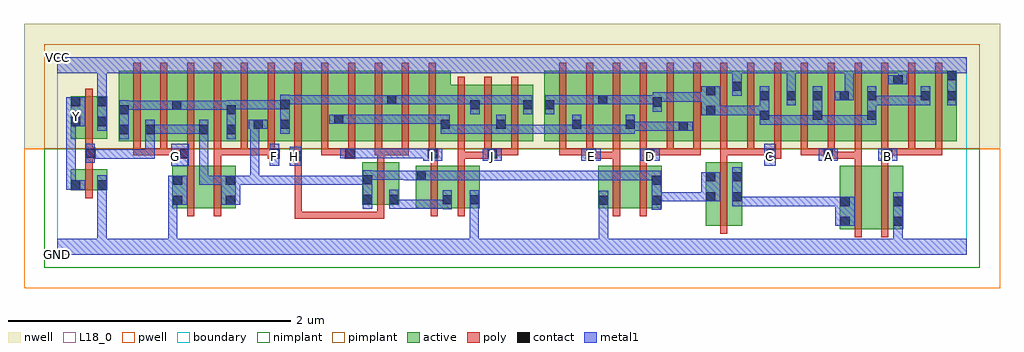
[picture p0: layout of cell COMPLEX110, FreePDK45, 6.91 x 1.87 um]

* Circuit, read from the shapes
.subckt COMPLEX110 A B C D E F G GND H I J VCC Y
M1 GND n1 Y VSUBS nfet w=0.15u l=0.05u
M2 n2 G GND VSUBS nfet w=0.3u l=0.05u
M3 n1 F n2 VSUBS nfet w=0.3u l=0.05u
M4 n3 H n1 VSUBS nfet w=0.3u l=0.05u
M5 n3 I n1 VSUBS nfet w=0.3u l=0.05u
M6 GND J n3 VSUBS nfet w=0.3u l=0.05u
M7 n4 E GND VSUBS nfet w=0.3u l=0.05u
M8 n1 D n4 VSUBS nfet w=0.3u l=0.05u
M9 n5 C n1 VSUBS nfet w=0.45u l=0.05u
M10 n6 A n5 VSUBS nfet w=0.45u l=0.05u
M11 GND B n6 VSUBS nfet w=0.45u l=0.05u
M12 VCC n1 Y n7 pfet w=0.3u l=0.05u
M13 n1 G n8 n7 pfet w=0.5u l=0.05u m=3
M14 n8 F n1 n7 pfet w=0.5u l=0.05u m=3
M15 n9 H n8 n7 pfet w=0.5u l=0.05u
M16 n10 I n9 n7 pfet w=0.5u l=0.05u
M17 n11 I n10 n7 pfet w=0.5u l=0.05u
M18 n8 H n11 n7 pfet w=0.5u l=0.05u
M19 n12 H n8 n7 pfet w=0.5u l=0.05u
M20 n10 I n12 n7 pfet w=0.5u l=0.05u
M21 n8 J n10 n7 pfet w=0.4u l=0.05u m=3
M22 n10 E n13 n7 pfet w=0.5u l=0.05u m=3
M23 n13 D n10 n7 pfet w=0.5u l=0.05u m=3
M24 VCC C n13 n7 pfet w=0.5u l=0.05u m=3
M25 n13 A VCC n7 pfet w=0.5u l=0.05u m=3
M26 VCC B n13 n7 pfet w=0.5u l=0.05u m=3
.ends

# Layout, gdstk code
import gdstk
lib = gdstk.Library(unit=1e-6, precision=1e-09)
def R(c, l, rs):  # rectangles x0, y0, x1, y1
    for r in rs: c.add(gdstk.rectangle(r[:2], r[2:], *l))
def A(c, l, x, y, w, h, nx, ny, dx, dy):  # array of equal rectangles
    R(c, l, [(x+i*dx, y+j*dy, x+i*dx+w, y+j*dy+h) for i in range(nx) for j in range(ny)])
active = (1, 0)
pwell = (2, 0)
nwell = (3, 0)
nimplant = (4, 0)
pimplant = (5, 0)
poly = (9, 0)
contact = (10, 0)
metal1 = (11, 0)
L18_0 = (18, 0)
boundary = (235, 0)

complex110 = lib.new_cell('COMPLEX110')
A(complex110, active, 4.21, 0.805, 0.075, 0.395, 3, 1, 0.38, 0)
A(complex110, active, 4.59, 0.805, 0.26, 0.5, 3, 1, 0.57, 0)
R(complex110, active, [(5.54,0.18,5.765,0.63), (5.765,0.18,5.99,0.63), (5.915,0.182,5.99,0.63), (5.54,0.2,5.615,0.63), (4.59,0.205,4.85,0.655), (4.59,0.207,4.665,0.655), (4.775,0.207,4.85,0.655), (0.815,0.33,1.04,0.63), (1.04,0.33,1.265,0.63), (2.54,0.33,2.8,0.63), (2.725,0.33,2.8,0.497), (2.725,0.33,2.99,0.63), (2.915,0.33,2.99,0.597), (3.83,0.33,4.055,0.63), (3.83,0.33,3.905,0.497), (4.055,0.33,4.28,0.63), (0.815,0.332,0.89,0.63), (2.54,0.332,2.615,0.63), (4.205,0.332,4.28,0.63), (1.19,0.35,1.265,0.63), (2.16,0.355,2.42,0.655), (2.16,0.355,2.235,0.655), (2.345,0.355,2.42,0.655), (0.095,0.457,0.17,0.607), (0.095,0.457,0.355,0.607), (0.28,0.457,0.355,0.607), (0.435,0.805,0.695,1.305), (0.435,0.805,0.51,1.2), (0.62,0.805,0.885,1.305), (0.81,0.805,1.075,1.305), (1,0.805,1.27,1.305), (1,0.805,1.075,1.07), (1.195,0.805,1.46,1.305), (1.385,0.805,1.65,1.305), (1.575,0.805,1.8,1.305), (1.8,0.805,2.03,1.305), (1.955,0.805,2.18,1.305), (2.18,0.805,2.407,1.305), (2.332,0.805,2.56,1.305), (2.56,0.805,2.785,1.305), (2.71,0.805,2.785,1.07), (2.71,0.805,2.995,1.205), (2.92,0.805,3.18,1.205), (3.105,0.805,3.18,1.07), (3.105,0.805,3.37,1.205), (3.295,0.805,3.37,1.2), (3.45,0.805,3.525,1.2), (3.45,0.805,3.715,1.305), (3.64,0.805,3.9,1.305), (3.64,0.805,3.715,1.07), (3.825,0.805,3.9,1.2), (3.825,0.805,4.095,1.305), (4.02,0.805,4.285,1.305), (4.02,0.805,4.095,1.07), (4.21,0.805,4.47,1.305), (4.395,0.805,4.665,1.305), (4.395,0.805,4.47,1.07), (4.775,0.805,4.85,1.305), (4.775,0.805,5.045,1.305), (4.97,0.805,5.235,1.305), (5.16,0.805,5.235,1.305), (5.345,0.805,5.42,1.2), (5.345,0.805,5.61,1.305), (5.535,0.805,5.61,1.305), (5.535,0.805,5.805,1.305), (5.73,0.805,5.805,1.2), (5.915,0.805,6.185,1.305), (6.11,0.805,6.37,1.305), (6.11,0.805,6.185,1.2), (6.295,0.805,6.37,1.305), (0.62,0.807,0.695,1.07), (0.81,0.807,0.885,1.2), (1.195,0.807,1.27,1.2), (1.385,0.807,1.46,1.07), (1.575,0.807,1.65,1.2), (1.955,0.807,2.03,1.07), (2.332,0.807,2.407,1.2), (5.915,0.807,5.99,1.305), (0.095,0.822,0.355,1.122), (0.095,0.822,0.17,1.122), (0.28,0.822,0.355,1.122), (2.92,0.907,2.995,1.2)])
R(complex110, pwell, [(-0.235,-0.235,6.675,0.75)])
R(complex110, nwell, [(-0.235,0.75,6.675,1.635)])
R(complex110, nimplant, [(-0.09,-0.09,6.53,0.75)])
R(complex110, pimplant, [(-0.09,0.75,6.53,1.49)])
A(complex110, poly, 0.54, 0.705, 0.05, 0.095, 6, 1, 0.19, 0)
A(complex110, poly, 1.87, 0.705, 0.05, 0.095, 5, 1, 0.19, 0)
A(complex110, poly, 4.125, 0.705, 0.05, 0.095, 8, 1, 0.19, 0)
A(complex110, poly, 4.505, 0.705, 0.05, 0.05, 3, 1, 0.19, 0)
A(complex110, poly, 5.835, 0.705, 0.05, 0.095, 3, 1, 0.19, 0)
A(complex110, poly, 0.54, 0.75, 0.05, 0.61, 12, 1, 0.19, 0)
A(complex110, poly, 2.835, 0.75, 0.05, 0.51, 3, 1, 0.19, 0)
A(complex110, poly, 3.555, 0.75, 0.05, 0.61, 15, 1, 0.19, 0)
R(complex110, poly, [(5.645,0.125,5.695,0.685), (5.835,0.125,5.885,0.685), (4.695,0.15,4.745,0.71), (1.682,0.255,1.732,0.305), (1.682,0.255,1.732,0.305), (1.682,0.255,1.732,0.305), (1.682,0.255,1.865,0.305), (1.682,0.255,1.732,0.712), (1.815,0.255,1.865,0.305), (1.815,0.255,1.865,0.305), (1.815,0.255,1.865,0.305), (1.815,0.255,2.11,0.305), (2.06,0.255,2.11,0.305), (2.06,0.255,2.11,0.305), (2.06,0.255,2.11,0.305), (2.06,0.255,2.11,0.305), (2.06,0.255,2.11,0.305), (2.06,0.255,2.11,0.305), (2.06,0.255,2.11,0.305), (2.06,0.255,2.315,0.305), (2.265,0.255,2.315,0.35), (2.265,0.255,2.315,0.305), (2.265,0.255,2.315,0.305), (2.265,0.255,2.315,0.305), (0.92,0.275,0.97,0.685), (1.11,0.275,1.16,0.685), (2.645,0.275,2.695,0.685), (2.835,0.275,2.885,0.685), (3.935,0.275,3.985,0.685), (4.125,0.275,4.175,0.685), (2.265,0.3,2.315,0.71), (0.2,0.402,0.25,0.662), (0.2,0.612,0.25,0.732), (0.92,0.635,0.97,0.73), (1.11,0.635,1.16,0.755), (2.645,0.635,2.695,0.73), (2.835,0.635,2.885,0.73), (3.935,0.635,3.985,0.73), (4.125,0.635,4.175,0.73), (5.645,0.635,5.695,0.73), (5.835,0.635,5.885,0.73), (2.265,0.66,2.315,0.755), (4.695,0.66,4.745,0.755), (1.657,0.662,1.732,0.737), (0.862,0.68,0.97,0.755), (1.49,0.68,1.575,0.755), (2.035,0.68,2.11,0.755), (2.622,0.68,2.697,0.755), (2.835,0.68,2.885,0.73), (2.835,0.68,3.075,0.73), (2.835,0.68,2.885,0.8), (3.025,0.68,3.075,0.73), (3.025,0.68,3.075,0.73), (3.025,0.68,3.117,0.755), (3.742,0.68,3.817,0.755), (3.767,0.68,3.817,0.73), (3.767,0.68,3.817,0.73), (3.767,0.68,3.985,0.73), (3.935,0.68,3.985,0.73), (3.935,0.68,3.985,0.8), (4.125,0.68,4.232,0.755), (5.017,0.68,5.125,0.755), (5.422,0.68,5.505,0.755), (5.455,0.68,5.695,0.73), (5.645,0.68,5.695,0.73), (5.645,0.68,5.695,0.73), (5.645,0.68,5.695,0.73), (5.645,0.68,5.695,0.8), (5.835,0.68,5.917,0.755), (0.197,0.682,0.272,0.757), (1.68,0.687,1.73,0.8), (0.54,0.705,0.59,0.755), (0.54,0.705,0.78,0.755), (0.73,0.705,0.78,0.755), (0.73,0.705,0.78,0.755), (0.73,0.705,0.78,0.755), (0.73,0.705,0.912,0.755), (0.862,0.705,0.912,0.755), (0.862,0.705,0.912,0.755), (1.11,0.705,1.16,0.755), (1.11,0.705,1.16,0.755), (1.11,0.705,1.16,0.755), (1.11,0.705,1.35,0.755), (1.3,0.705,1.35,0.755), (1.3,0.705,1.35,0.755), (1.3,0.705,1.35,0.755), (1.3,0.705,1.54,0.755), (1.87,0.705,1.92,0.755), (1.87,0.705,2.085,0.755), (2.035,0.705,2.085,0.755), (2.035,0.705,2.085,0.755), (2.25,0.705,2.315,0.755), (2.265,0.705,2.49,0.755), (2.44,0.705,2.49,0.755), (2.44,0.705,2.49,0.755), (2.44,0.705,2.49,0.755), (3.025,0.705,3.075,0.8), (3.067,0.705,3.265,0.755), (3.215,0.705,3.265,0.8), (3.215,0.705,3.265,0.755), (3.215,0.705,3.265,0.755), (3.215,0.705,3.265,0.755), (3.555,0.705,3.605,0.8), (3.555,0.705,3.605,0.755), (3.555,0.705,3.605,0.755), (3.555,0.705,3.605,0.755), (3.555,0.705,3.792,0.755), (3.745,0.705,3.795,0.8), (4.182,0.705,4.365,0.755), (4.315,0.705,4.365,0.755), (4.315,0.705,4.365,0.755), (4.315,0.705,4.365,0.755), (4.315,0.705,4.555,0.755), (4.505,0.705,4.555,0.755), (4.505,0.705,4.555,0.755), (4.695,0.705,4.935,0.755), (4.885,0.705,4.935,0.755), (4.885,0.705,4.935,0.755), (4.885,0.705,5.067,0.755), (5.017,0.705,5.067,0.755), (5.017,0.705,5.067,0.755), (5.265,0.705,5.315,0.755), (5.265,0.705,5.472,0.755), (5.422,0.705,5.472,0.755), (5.422,0.705,5.472,0.755), (5.867,0.705,5.917,0.755), (5.867,0.705,5.917,0.755), (5.867,0.705,6.075,0.755), (6.025,0.705,6.075,0.755), (6.025,0.705,6.265,0.755), (6.215,0.705,6.265,0.755), (6.215,0.705,6.265,0.755), (6.215,0.705,6.265,0.755), (0.2,0.707,0.25,0.817), (0.2,0.767,0.25,1.177)])
R(complex110, contact, [(5.545,0.205,5.61,0.27), (5.92,0.205,5.985,0.27), (5.545,0.345,5.61,0.41), (5.92,0.345,5.985,0.41), (0.82,0.355,0.885,0.42), (1.195,0.355,1.26,0.42), (3.835,0.355,3.9,0.42), (4.21,0.355,4.275,0.42), (2.73,0.357,2.795,0.422), (2.92,0.357,2.985,0.422), (2.165,0.36,2.23,0.425), (2.35,0.36,2.415,0.425), (4.595,0.38,4.66,0.445), (4.78,0.38,4.845,0.445), (0.1,0.462,0.165,0.527), (0.285,0.462,0.35,0.527), (0.82,0.495,0.885,0.56), (1.195,0.495,1.26,0.56), (4.21,0.495,4.275,0.56), (2.165,0.5,2.23,0.565), (4.595,0.52,4.66,0.585), (4.78,0.52,4.845,0.585), (2.545,0.53,2.61,0.595), (1.662,0.667,1.727,0.732), (0.867,0.685,0.932,0.75), (1.505,0.685,1.57,0.75), (2.04,0.685,2.105,0.75), (2.627,0.685,2.692,0.75), (3.047,0.685,3.112,0.75), (3.747,0.685,3.812,0.75), (4.162,0.685,4.227,0.75), (5.022,0.685,5.087,0.75), (5.427,0.685,5.492,0.75), (5.847,0.685,5.912,0.75), (0.202,0.687,0.267,0.752), (0.44,0.855,0.505,0.92), (0.625,0.855,0.69,0.92), (1.005,0.855,1.07,0.92), (1.2,0.855,1.265,0.92), (4.4,0.877,4.465,0.942), (1.39,0.892,1.455,0.957), (1.58,0.892,1.645,0.957), (2.715,0.892,2.78,0.957), (3.11,0.892,3.175,0.957), (3.645,0.892,3.71,0.957), (4.025,0.892,4.09,0.957), (0.1,0.912,0.165,0.977), (0.285,0.912,0.35,0.977), (1.96,0.927,2.025,0.992), (4.975,0.955,5.04,1.02), (5.35,0.955,5.415,1.02), (5.735,0.955,5.8,1.02), (4.595,0.99,4.66,1.055), (0.44,0.995,0.505,1.06), (1.2,0.995,1.265,1.06), (0.815,1.027,0.88,1.092), (2.925,1.03,2.99,1.095), (3.3,1.03,3.365,1.095), (3.455,1.03,3.52,1.095), (1.58,1.032,1.645,1.097), (4.215,1.05,4.28,1.115), (0.1,1.052,0.165,1.117), (0.285,1.052,0.35,1.117), (2.337,1.065,2.402,1.13), (3.83,1.065,3.895,1.13), (4.975,1.095,5.04,1.16), (5.165,1.095,5.23,1.16), (5.35,1.095,5.415,1.16), (5.54,1.095,5.605,1.16), (5.735,1.095,5.8,1.16), (6.115,1.095,6.18,1.16), (6.3,1.095,6.365,1.16), (4.595,1.13,4.66,1.195), (4.78,1.162,4.845,1.227), (5.92,1.207,5.985,1.272), (6.3,1.235,6.365,1.3)])
R(complex110, metal1, [(0,0,6.44,0.115), (0.285,0.05,0.35,0.115), (0.285,0.05,0.35,0.115), (0.285,0.05,0.35,0.115), (0.285,0.05,0.35,0.115), (0.285,0.05,0.35,0.115), (0.285,0.05,0.35,0.115), (0.285,0.05,0.35,0.492), (0.785,0.05,0.85,0.115), (0.785,0.05,0.85,0.115), (0.785,0.05,0.85,0.115), (0.785,0.05,0.85,0.115), (0.785,0.05,0.85,0.42), (2.92,0.05,2.985,0.115), (2.92,0.05,2.985,0.115), (2.92,0.05,2.985,0.115), (2.92,0.05,2.985,0.115), (2.92,0.05,2.985,0.387), (3.835,0.05,3.9,0.115), (3.835,0.05,3.9,0.115), (3.835,0.05,3.9,0.115), (3.835,0.05,3.9,0.115), (3.835,0.05,3.9,0.385), (5.92,0.05,5.985,0.115), (5.92,0.05,5.985,0.115), (5.92,0.05,5.985,0.235), (5.92,0.17,5.985,0.445), (5.51,0.205,5.645,0.41), (3.835,0.32,3.9,0.455), (4.21,0.32,4.275,0.595), (2.73,0.322,2.795,0.457), (2.92,0.322,2.985,0.457), (2.165,0.325,2.23,0.6), (2.35,0.325,2.415,0.46), (2.35,0.325,2.505,0.39), (2.44,0.325,2.505,0.39), (2.44,0.325,2.642,0.39), (2.577,0.325,2.642,0.39), (2.577,0.325,2.655,0.39), (2.59,0.325,2.655,0.39), (2.59,0.325,2.795,0.39), (4.78,0.345,4.845,0.62), (4.78,0.345,4.902,0.41), (4.837,0.345,4.902,0.41), (4.837,0.345,5.04,0.41), (4.975,0.345,5.04,0.41), (4.975,0.345,5.04,0.41), (4.975,0.345,5.04,0.41), (4.975,0.345,5.177,0.41), (5.112,0.345,5.177,0.41), (5.112,0.345,5.177,0.41), (5.112,0.345,5.177,0.41), (5.112,0.345,5.315,0.41), (5.25,0.345,5.315,0.41), (5.25,0.345,5.315,0.41), (5.25,0.345,5.315,0.41), (5.25,0.345,5.575,0.41), (0.785,0.355,0.92,0.56), (1.16,0.355,1.295,0.56), (4.21,0.38,4.487,0.445), (4.422,0.38,4.487,0.445), (4.422,0.38,4.487,0.445), (4.422,0.38,4.487,0.445), (4.422,0.38,4.625,0.445), (4.56,0.38,4.625,0.445), (4.56,0.38,4.625,0.445), (4.56,0.38,4.695,0.585), (0.285,0.427,0.35,0.562), (0.065,0.462,0.2,0.527), (0.065,0.462,0.13,0.977), (1.005,0.495,1.07,0.56), (1.005,0.495,1.07,0.56), (1.005,0.495,1.07,0.56), (1.005,0.495,1.225,0.56), (1.005,0.495,1.07,0.885), (1.217,0.495,1.282,0.56), (1.217,0.495,1.282,0.56), (1.217,0.495,1.282,0.56), (1.217,0.495,1.282,0.56), (1.217,0.495,1.432,0.56), (1.367,0.495,1.432,0.56), (1.367,0.495,1.432,0.56), (1.367,0.495,1.432,0.56), (1.367,0.495,1.432,0.56), (1.367,0.495,1.432,0.56), (1.367,0.495,1.645,0.56), (1.367,0.495,1.432,0.957), (1.58,0.495,1.645,0.56), (1.58,0.495,1.645,0.56), (1.58,0.495,1.645,0.56), (1.58,0.495,1.782,0.56), (1.717,0.495,1.782,0.56), (1.717,0.495,1.782,0.56), (1.717,0.495,1.782,0.56), (1.717,0.495,2.092,0.56), (2.027,0.495,2.092,0.56), (2.027,0.495,2.092,0.56), (2.027,0.495,2.092,0.56), (2.027,0.495,2.23,0.56), (2.452,0.53,2.575,0.595), (2.452,0.53,2.517,0.597), (2.51,0.53,2.645,0.595), (2.58,0.53,2.655,0.595), (2.59,0.53,2.655,0.595), (2.59,0.53,2.792,0.595), (2.727,0.53,2.792,0.595), (2.727,0.53,2.792,0.595), (2.727,0.53,2.792,0.595), (2.727,0.53,2.99,0.595), (2.925,0.53,2.99,0.595), (2.925,0.53,2.99,0.595), (2.925,0.53,2.99,0.595), (2.925,0.53,3.227,0.595), (3.162,0.53,3.227,0.595), (3.162,0.53,3.227,0.595), (3.162,0.53,3.227,0.595), (3.162,0.53,3.382,0.595), (3.317,0.53,3.382,0.595), (3.317,0.53,3.54,0.595), (3.475,0.53,3.54,0.595), (3.475,0.53,3.54,0.595), (3.475,0.53,3.54,0.595), (3.475,0.53,3.677,0.595), (3.612,0.53,3.677,0.595), (3.612,0.53,3.677,0.595), (3.612,0.53,3.677,0.595), (3.612,0.53,3.93,0.595), (3.865,0.53,3.93,0.595), (3.865,0.53,3.93,0.595), (3.865,0.53,3.93,0.595), (3.865,0.53,4.067,0.595), (4.002,0.53,4.067,0.595), (4.002,0.53,4.067,0.595), (4.002,0.53,4.067,0.595), (4.002,0.53,4.275,0.595), (2.165,0.532,2.367,0.597), (2.302,0.532,2.367,0.597), (2.302,0.532,2.367,0.597), (2.302,0.532,2.367,0.597), (2.302,0.532,2.517,0.597), (0.807,0.632,0.932,0.785), (1.505,0.632,1.572,0.785), (1.647,0.632,1.727,0.767), (5.007,0.632,5.087,0.785), (0.202,0.652,0.267,0.787), (2.592,0.667,2.727,0.75), (3.012,0.667,3.147,0.75), (3.712,0.667,3.847,0.75), (4.127,0.667,4.267,0.75), (5.392,0.667,5.527,0.75), (5.812,0.667,5.947,0.75), (0.202,0.682,0.267,0.747), (0.202,0.682,0.267,0.747), (0.202,0.682,0.487,0.747), (0.422,0.682,0.487,0.747), (0.422,0.682,0.487,0.747), (0.422,0.682,0.487,0.747), (0.422,0.682,0.69,0.747), (0.625,0.682,0.69,0.747), (0.625,0.682,0.69,0.885), (2.005,0.685,2.14,0.75), (2.075,0.685,2.23,0.75), (2.165,0.685,2.23,0.75), (2.165,0.685,2.367,0.75), (2.302,0.685,2.367,0.75), (2.302,0.685,2.367,0.75), (2.302,0.685,2.367,0.75), (2.302,0.685,2.505,0.75), (2.44,0.685,2.505,0.75), (2.44,0.685,2.575,0.75), (2.51,0.685,2.575,0.75), (2.51,0.685,2.657,0.75), (0.44,0.82,0.505,1.095), (0.625,0.82,0.69,0.955), (1.005,0.82,1.07,0.885), (1.005,0.82,1.07,0.885), (1.005,0.82,1.07,0.955), (1.2,0.82,1.265,1.095), (0.625,0.857,0.69,0.922), (0.625,0.857,0.69,0.922), (0.625,0.857,0.932,0.922), (0.867,0.857,0.932,0.922), (0.867,0.857,0.932,0.922), (0.867,0.857,0.932,0.922), (0.867,0.857,1.07,0.922), (1.58,0.857,1.645,1.132), (2.715,0.857,2.78,0.992), (2.715,0.857,2.852,0.922), (2.787,0.857,2.852,0.922), (2.787,0.857,2.99,0.922), (2.925,0.857,2.99,0.922), (2.925,0.857,2.99,0.922), (2.925,0.857,2.99,0.922), (2.925,0.857,3.175,0.922), (3.11,0.857,3.175,0.922), (3.11,0.857,3.175,0.922), (3.11,0.857,3.175,0.992), (3.11,0.857,3.382,0.922), (3.317,0.857,3.382,0.922), (3.317,0.857,3.54,0.922), (3.475,0.857,3.54,0.922), (3.475,0.857,3.54,0.922), (3.475,0.857,3.54,0.922), (3.475,0.857,3.71,0.922), (3.645,0.857,3.71,0.922), (3.645,0.857,3.71,0.922), (3.645,0.857,3.71,0.992), (3.645,0.857,3.93,0.922), (3.865,0.857,3.93,0.922), (3.865,0.857,3.93,0.922), (3.865,0.857,3.93,0.922), (3.865,0.857,4.09,0.922), (4.025,0.857,4.09,0.992), (0.285,0.877,0.35,1.152), (4.025,0.877,4.09,0.942), (4.025,0.877,4.09,0.942), (4.025,0.877,4.09,0.942), (4.025,0.877,4.292,0.942), (4.025,0.877,4.09,0.992), (4.227,0.877,4.292,0.942), (4.227,0.877,4.43,0.942), (4.365,0.877,4.43,0.942), (4.365,0.877,4.43,0.942), (4.365,0.877,4.5,0.942), (1.355,0.892,1.49,0.957), (0.065,0.912,0.13,0.977), (0.065,0.912,0.13,0.977), (0.065,0.912,0.13,0.977), (0.065,0.912,0.13,0.977), (0.065,0.912,0.13,0.977), (0.065,0.912,0.13,0.977), (0.065,0.912,0.2,1.117), (4.975,0.92,5.04,1.195), (5.35,0.92,5.415,1.195), (5.735,0.92,5.8,1.195), (4.975,0.922,5.04,0.987), (4.975,0.922,5.04,0.987), (4.975,0.922,5.177,0.987), (5.112,0.922,5.177,0.987), (5.112,0.922,5.177,0.987), (5.112,0.922,5.177,0.987), (5.112,0.922,5.415,0.987), (5.35,0.922,5.415,0.987), (5.35,0.922,5.415,0.987), (5.35,0.922,5.552,0.987), (5.487,0.922,5.552,0.987), (5.487,0.922,5.552,0.987), (5.487,0.922,5.552,0.987), (5.487,0.922,5.8,0.987), (1.925,0.927,2.06,0.992), (1.995,0.927,2.06,0.992), (1.995,0.927,2.06,0.992), (1.995,0.927,2.23,0.992), (2.165,0.927,2.23,0.992), (2.165,0.927,2.367,0.992), (2.302,0.927,2.367,0.992), (2.302,0.927,2.367,0.992), (2.302,0.927,2.367,0.992), (2.302,0.927,2.505,0.992), (2.44,0.927,2.505,0.992), (2.44,0.927,2.642,0.992), (2.577,0.927,2.642,0.992), (2.577,0.927,2.655,0.992), (2.59,0.927,2.655,0.992), (2.59,0.927,2.78,0.992), (4.56,0.99,4.695,1.195), (4.63,0.99,4.762,1.055), (4.697,0.99,4.762,1.055), (4.697,0.99,4.902,1.055), (4.837,0.99,4.902,1.055), (4.837,0.99,4.902,1.055), (4.837,0.99,4.902,1.055), (4.837,0.99,5.04,1.055), (2.925,0.995,2.99,1.13), (3.3,0.995,3.365,1.13), (3.455,0.995,3.52,1.13), (4.215,1.015,4.28,1.15), (0.44,1.027,0.505,1.092), (0.44,1.027,0.505,1.092), (0.44,1.027,0.707,1.092), (0.642,1.027,0.707,1.092), (0.642,1.027,0.707,1.092), (0.642,1.027,0.707,1.092), (0.642,1.027,0.845,1.092), (0.78,1.027,0.915,1.092), (0.85,1.027,0.915,1.092), (0.85,1.027,0.915,1.092), (0.85,1.027,1.087,1.092), (1.022,1.027,1.087,1.092), (1.022,1.027,1.087,1.092), (1.022,1.027,1.087,1.092), (1.022,1.027,1.265,1.092), (1.2,1.03,1.265,1.095), (1.2,1.03,1.265,1.095), (1.2,1.03,1.507,1.095), (1.442,1.03,1.507,1.095), (1.442,1.03,1.507,1.095), (1.442,1.03,1.507,1.095), (1.442,1.03,1.645,1.095), (5.165,1.06,5.23,1.195), (5.735,1.06,5.8,1.125), (5.735,1.06,5.8,1.125), (5.735,1.06,6.022,1.125), (5.957,1.06,6.022,1.125), (5.957,1.06,6.18,1.125), (6.115,1.06,6.18,1.125), (6.115,1.06,6.18,1.125), (6.115,1.06,6.18,1.195), (6.3,1.06,6.365,1.335), (1.58,1.065,1.645,1.13), (1.58,1.065,1.645,1.13), (1.58,1.065,1.782,1.13), (1.717,1.065,1.782,1.13), (1.717,1.065,1.782,1.13), (1.717,1.065,1.782,1.13), (1.717,1.065,1.92,1.13), (1.855,1.065,1.92,1.13), (1.855,1.065,2.23,1.13), (2.165,1.065,2.23,1.13), (2.165,1.065,2.23,1.13), (2.165,1.065,2.23,1.13), (2.165,1.065,2.367,1.13), (2.302,1.065,2.367,1.13), (2.302,1.065,2.367,1.13), (2.302,1.065,2.437,1.13), (2.372,1.065,2.517,1.13), (2.452,1.065,2.517,1.13), (2.452,1.065,2.642,1.13), (2.577,1.065,2.642,1.13), (2.577,1.065,2.655,1.13), (2.59,1.065,2.655,1.13), (2.59,1.065,2.792,1.13), (2.727,1.065,2.792,1.13), (2.727,1.065,2.792,1.13), (2.727,1.065,2.792,1.13), (2.727,1.065,2.99,1.13), (2.925,1.065,2.99,1.13), (2.925,1.065,2.99,1.13), (2.925,1.065,3.227,1.13), (3.162,1.065,3.227,1.13), (3.162,1.065,3.227,1.13), (3.162,1.065,3.227,1.13), (3.162,1.065,3.365,1.13), (3.455,1.065,3.52,1.13), (3.455,1.065,3.52,1.13), (3.455,1.065,3.677,1.13), (3.612,1.065,3.677,1.13), (3.612,1.065,3.677,1.13), (3.612,1.065,3.677,1.13), (3.612,1.065,3.86,1.13), (3.795,1.065,3.93,1.13), (3.865,1.065,3.93,1.13), (3.865,1.065,3.93,1.13), (3.865,1.065,4.137,1.13), (4.072,1.065,4.137,1.13), (4.072,1.065,4.137,1.13), (4.072,1.065,4.137,1.13), (4.072,1.065,4.28,1.13), (4.215,1.085,4.43,1.15), (4.365,1.085,4.43,1.15), (4.365,1.085,4.43,1.15), (4.365,1.085,4.43,1.15), (4.365,1.085,4.625,1.15), (4.56,1.085,4.625,1.15), (4.56,1.085,4.625,1.15), (0.285,1.087,0.35,1.152), (0.285,1.087,0.35,1.152), (0.285,1.087,0.35,1.35), (5.505,1.095,5.64,1.16), (5.575,1.095,5.64,1.35), (4.78,1.127,4.845,1.262), (5.165,1.13,5.23,1.35), (4.78,1.197,4.845,1.35), (5.885,1.207,6.02,1.272), (5.955,1.207,6.02,1.35), (6.3,1.27,6.365,1.35), (0,1.285,6.44,1.4)])
A(complex110, L18_0, 5.007, 0.667, 0.065, 0.065, 3, 1, 0.42, 0)
R(complex110, L18_0, [(0,0,6.44,0.115), (0.285,0.05,0.35,0.115), (0.285,0.05,0.35,0.115), (0.285,0.05,0.35,0.115), (0.285,0.05,0.35,0.115), (0.285,0.05,0.35,0.115), (0.285,0.05,0.35,0.115), (0.285,0.05,0.35,0.492), (0.785,0.05,0.85,0.115), (0.785,0.05,0.85,0.115), (0.785,0.05,0.85,0.115), (0.785,0.05,0.85,0.115), (0.785,0.05,0.85,0.42), (2.92,0.05,2.985,0.115), (2.92,0.05,2.985,0.115), (2.92,0.05,2.985,0.115), (2.92,0.05,2.985,0.115), (2.92,0.05,2.985,0.387), (3.835,0.05,3.9,0.115), (3.835,0.05,3.9,0.115), (3.835,0.05,3.9,0.115), (3.835,0.05,3.9,0.115), (3.835,0.05,3.9,0.385), (5.92,0.05,5.985,0.115), (5.92,0.05,5.985,0.115), (5.92,0.05,5.985,0.235), (5.92,0.17,5.985,0.445), (3.835,0.32,3.9,0.455), (2.92,0.322,2.985,0.457), (0.785,0.355,0.92,0.56), (0.285,0.427,0.35,0.562), (0.065,0.462,0.2,0.527), (0.065,0.462,0.13,0.977), (0.807,0.632,0.932,0.785), (1.505,0.632,1.572,0.785), (1.647,0.632,1.727,0.767), (5.007,0.632,5.087,0.785), (0.807,0.667,0.872,0.732), (1.507,0.667,1.572,0.732), (1.647,0.667,1.712,0.732), (2.592,0.667,2.727,0.75), (2.627,0.667,2.692,0.732), (3.012,0.667,3.147,0.75), (3.047,0.667,3.112,0.732), (3.712,0.667,3.847,0.75), (3.747,0.667,3.812,0.732), (4.127,0.667,4.267,0.75), (4.167,0.667,4.232,0.732), (5.392,0.667,5.527,0.75), (5.812,0.667,5.947,0.75), (2.005,0.685,2.14,0.75), (2.075,0.685,2.23,0.75), (2.165,0.685,2.23,0.75), (2.165,0.685,2.367,0.75), (2.302,0.685,2.367,0.75), (2.302,0.685,2.367,0.75), (2.302,0.685,2.367,0.75), (2.302,0.685,2.505,0.75), (2.44,0.685,2.575,0.75), (2.44,0.685,2.505,0.75), (2.51,0.685,2.575,0.75), (2.51,0.685,2.657,0.75), (0.285,0.877,0.35,1.152), (0.065,0.912,0.13,0.977), (0.065,0.912,0.13,0.977), (0.065,0.912,0.13,0.977), (0.065,0.912,0.13,0.977), (0.065,0.912,0.13,0.977), (0.065,0.912,0.13,0.977), (0.065,0.912,0.2,1.117), (0.107,0.947,0.172,1.012), (5.165,1.06,5.23,1.195), (6.3,1.06,6.365,1.335), (0.285,1.087,0.35,1.152), (0.285,1.087,0.35,1.152), (0.285,1.087,0.35,1.35), (5.505,1.095,5.64,1.16), (5.575,1.095,5.64,1.35), (4.78,1.127,4.845,1.262), (5.165,1.13,5.23,1.35), (4.78,1.197,4.845,1.35), (5.885,1.207,6.02,1.272), (5.955,1.207,6.02,1.35), (6.3,1.27,6.365,1.35), (0,1.285,6.44,1.4)])
R(complex110, boundary, [(0,0,6.44,1.4)])
complex110.add(gdstk.Label('A', (5.46,0.7), layer=11, texttype=0))
complex110.add(gdstk.Label('B', (5.88,0.7), layer=11, texttype=0))
complex110.add(gdstk.Label('C', (5.04,0.7), layer=11, texttype=0))
complex110.add(gdstk.Label('D', (4.2,0.7), layer=11, texttype=0))
complex110.add(gdstk.Label('E', (3.78,0.7), layer=11, texttype=0))
complex110.add(gdstk.Label('F', (1.54,0.7), layer=11, texttype=0))
complex110.add(gdstk.Label('G', (0.84,0.7), layer=11, texttype=0))
complex110.add(gdstk.Label('H', (1.68,0.7), layer=11, texttype=0))
complex110.add(gdstk.Label('I', (2.66,0.7), layer=11, texttype=0))
complex110.add(gdstk.Label('J', (3.08,0.7), layer=11, texttype=0))
complex110.add(gdstk.Label('Y', (0.14,0.98), layer=11, texttype=0))
complex110.add(gdstk.Label('VCC', (0,1.4), layer=11, texttype=0))
complex110.add(gdstk.Label('GND', (0,0), layer=11, texttype=0))

lib.write_gds('COMPLEX110.gds')
